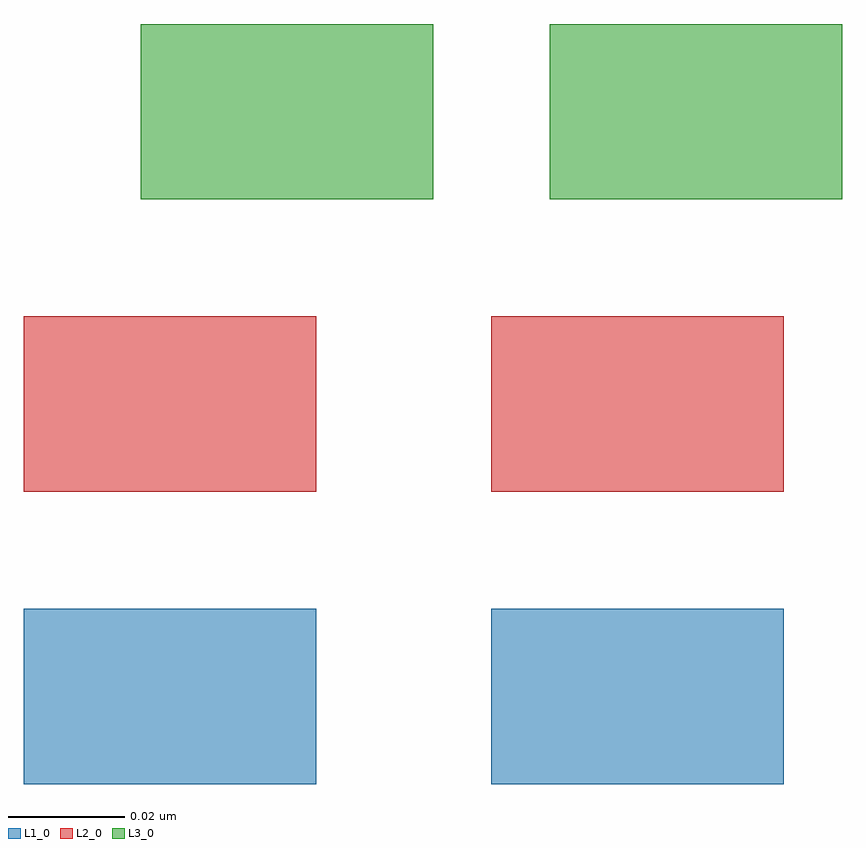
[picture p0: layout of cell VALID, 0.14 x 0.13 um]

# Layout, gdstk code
import gdstk
lib = gdstk.Library(unit=1e-6, precision=1e-09)
def R(c, l, rs):  # rectangles x0, y0, x1, y1
    for r in rs: c.add(gdstk.rectangle(r[:2], r[2:], *l))
L1_0 = (1, 0)
L2_0 = (2, 0)
L3_0 = (3, 0)

valid = lib.new_cell('VALID')
R(valid, L1_0, [(0,0,0.05,0.03), (0.08,0,0.13,0.03)])
R(valid, L2_0, [(0,0.05,0.05,0.08), (0.08,0.05,0.13,0.08)])
R(valid, L3_0, [(0.02,0.1,0.07,0.13), (0.09,0.1,0.14,0.13)])

lib.write_gds('VALID.gds')
